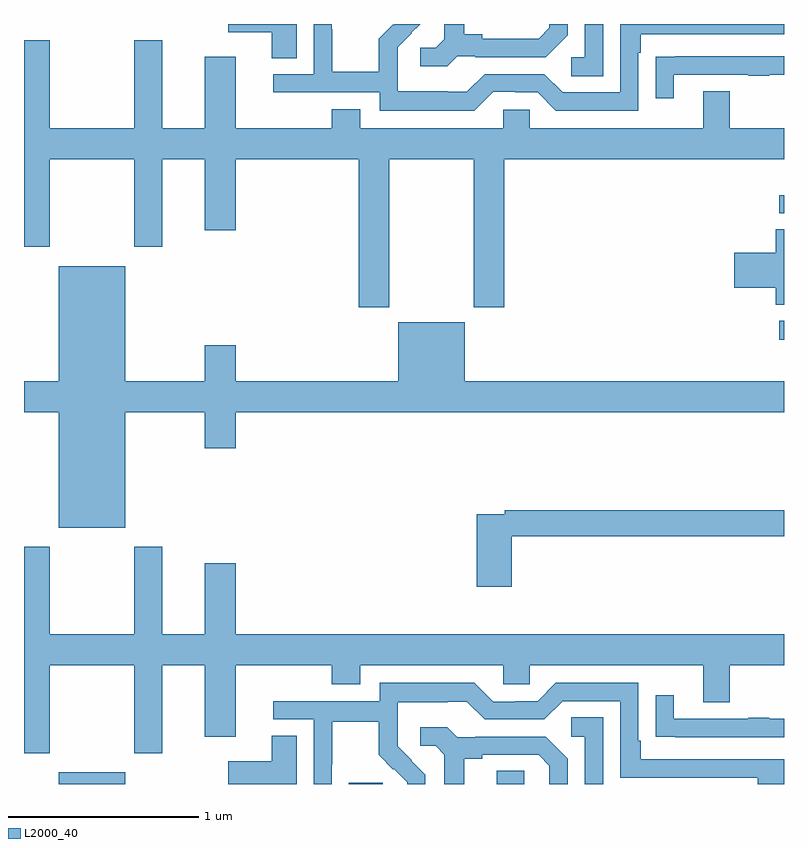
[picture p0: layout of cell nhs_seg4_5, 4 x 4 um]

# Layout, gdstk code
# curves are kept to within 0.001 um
import gdstk
lib = gdstk.Library(unit=1e-6, precision=1e-09)
def R(c, l, rs):  # rectangles x0, y0, x1, y1
    for r in rs: c.add(gdstk.rectangle(r[:2], r[2:], *l))
def P(c, l, *ps):  # polygons
    for p in ps: c.add(gdstk.Polygon(p, *l))
L2000_40 = (2000, 40)

nhs_seg4_5 = lib.new_cell('nhs_seg4_5')
R(nhs_seg4_5, L2000_40, [(111.182,758.9,111.532,758.962), (112.709,758.9,112.888,758.907), (113.489,758.9,113.634,758.969), (114.975,761.239,115,761.337), (114.975,761.904,115,762)])
P(nhs_seg4_5, L2000_40, [(113.28,762.729),(113.374,762.729),(113.374,762.726),(113.746,762.726),(113.862,762.842),(113.862,762.9),(113.765,762.9),(113.765,762.879),(113.708,762.822),(113.413,762.822),(113.413,762.845),(113.317,762.845),(113.317,762.9),(113.213,762.9),(113.213,762.821),(113.166,762.774),(113.085,762.774),(113.085,762.677),(113.228,762.677)],
  [(112.435,762.9),(112.074,762.9),(112.074,762.857),(112.304,762.857),(112.304,762.721),(112.435,762.721)],
  [(113.469,762.543),(113.585,762.543),(113.585,762.54),(113.703,762.54),(113.799,762.444),(114.234,762.444),(114.234,762.749),(114.247,762.749),(114.247,762.846),(115,762.846),(115,762.9),(114.138,762.9),(114.138,762.54),(113.835,762.54),(113.739,762.636),(113.424,762.636),(113.331,762.543),(113.231,762.543),(113.231,762.547),(112.968,762.547),(112.968,762.681),(112.966,762.681),(112.966,762.778),(113.086,762.9),(112.95,762.9),(112.947,762.897),(112.944,762.9),(112.867,762.823),(112.867,762.649),(112.623,762.649),(112.623,762.872),(112.62,762.872),(112.62,762.9),(112.524,762.9),(112.524,762.636),(112.311,762.636),(112.311,762.54),(112.872,762.54),(112.872,762.443),(113.369,762.443)],
  [(114.048,762.9),(113.952,762.9),(113.952,762.726),(113.88,762.726),(113.88,762.625),(114.048,762.625)],
  [(112.923,762.188),(113.368,762.188),(113.368,761.409),(113.528,761.409),(113.528,762.188),(115,762.188),(115,762.352),(114.715,762.352),(114.715,762.547),(114.575,762.547),(114.575,762.352),(113.661,762.352),(113.661,762.45),(113.523,762.45),(113.523,762.352),(112.771,762.352),(112.771,762.451),(112.619,762.451),(112.619,762.352),(112.114,762.352),(112.114,762.727),(111.95,762.727),(111.95,762.352),(111.727,762.352),(111.727,762.814),(111.58,762.814),(111.58,762.352),(111.135,762.352),(111.135,762.814),(111,762.814),(111,761.727),(111.135,761.727),(111.135,762.188),(111.58,762.188),(111.58,761.727),(111.727,761.727),(111.727,762.188),(111.95,762.188),(111.95,761.814),(112.114,761.814),(112.114,762.188),(112.763,762.188),(112.763,761.409),(112.923,761.409)],
  [(114.421,762.633),(114.811,762.633),(114.811,762.628),(114.923,762.628),(114.923,762.633),(115,762.633),(115,762.729),(114.427,762.729),(114.427,762.728),(114.325,762.728),(114.325,762.51),(114.421,762.51)],
  [(115,761.819),(114.956,761.819),(114.956,761.696),(114.738,761.696),(114.738,761.513),(114.956,761.513),(114.956,761.422),(115,761.422)],
  [(111.532,760.856),(111.95,760.856),(111.95,760.668),(112.114,760.668),(112.114,760.856),(115,760.856),(115,761.02),(113.32,761.02),(113.32,761.329),(112.97,761.329),(112.97,761.02),(112.114,761.02),(112.114,761.209),(111.95,761.209),(111.95,761.02),(111.532,761.02),(111.532,761.626),(111.182,761.626),(111.182,761.02),(111,761.02),(111,760.856),(111.182,760.856),(111.182,760.25),(111.532,760.25)],
  [(113.567,760.204),(115,760.204),(115,760.34),(113.53,760.34),(113.53,760.32),(113.384,760.32),(113.384,759.939),(113.567,759.939)],
  [(111.135,759.524),(111.58,759.524),(111.58,759.063),(111.727,759.063),(111.727,759.524),(111.95,759.524),(111.95,759.15),(112.114,759.15),(112.114,759.524),(112.619,759.524),(112.619,759.425),(112.771,759.425),(112.771,759.524),(113.523,759.524),(113.523,759.426),(113.661,759.426),(113.661,759.524),(114.575,759.524),(114.575,759.33),(114.715,759.33),(114.715,759.524),(115,759.524),(115,759.688),(112.114,759.688),(112.114,760.063),(111.95,760.063),(111.95,759.688),(111.727,759.688),(111.727,760.15),(111.58,760.15),(111.58,759.688),(111.135,759.688),(111.135,760.15),(111,760.15),(111,759.063),(111.135,759.063)],
  [(112.62,759.004),(112.623,759.004),(112.623,759.228),(112.867,759.228),(112.867,759.053),(112.944,758.976),(112.947,758.979),(113.018,758.909),(113.018,758.9),(113.112,758.9),(113.112,758.95),(112.966,759.098),(112.966,759.195),(112.968,759.195),(112.968,759.329),(113.231,759.329),(113.231,759.333),(113.331,759.333),(113.424,759.24),(113.739,759.24),(113.835,759.336),(114.138,759.336),(114.138,758.934),(114.863,758.934),(114.863,758.9),(115,758.9),(115,759.03),(114.247,759.03),(114.247,759.127),(114.234,759.127),(114.234,759.432),(113.799,759.432),(113.703,759.336),(113.585,759.336),(113.585,759.333),(113.469,759.333),(113.369,759.433),(112.872,759.433),(112.872,759.336),(112.311,759.336),(112.311,759.24),(112.524,759.24),(112.524,758.9),(112.62,758.9)],
  [(115,759.243),(114.923,759.243),(114.923,759.248),(114.811,759.248),(114.811,759.243),(114.421,759.243),(114.421,759.367),(114.325,759.367),(114.325,759.148),(114.427,759.148),(114.427,759.147),(115,759.147)],
  [(114.048,759.251),(113.88,759.251),(113.88,759.15),(113.952,759.15),(113.952,758.9),(114.048,758.9)],
  [(113.317,759.032),(113.413,759.032),(113.413,759.054),(113.708,759.054),(113.765,758.997),(113.765,758.9),(113.862,758.9),(113.862,759.034),(113.746,759.15),(113.374,759.15),(113.374,759.147),(113.28,759.147),(113.228,759.199),(113.085,759.199),(113.085,759.102),(113.166,759.102),(113.213,759.055),(113.213,758.9),(113.317,758.9)],
  [(112.435,759.155),(112.304,759.155),(112.304,759.019),(112.074,759.019),(112.074,758.9),(112.435,758.9)])

lib.write_gds('nhs_seg4_5.gds')
